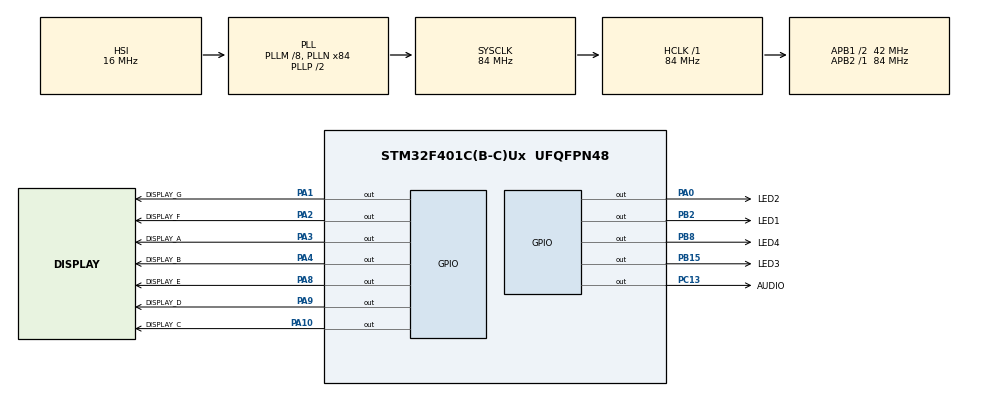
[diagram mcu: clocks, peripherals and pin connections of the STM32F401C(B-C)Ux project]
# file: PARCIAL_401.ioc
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Mcu.Family=STM32F4
Mcu.Name=STM32F401C(B-C)Ux
Mcu.Package=UFQFPN48
NVIC.PriorityGroup=NVIC_PRIORITYGROUP_4
PA0-WKUP.GPIO_Label=LED2
PA0-WKUP.Signal=GPIO_Output
PA1.GPIO_Label=DISPLAY_G
PA1.Signal=GPIO_Output
PA10.GPIO_Label=DISPLAY_C
PA10.Signal=GPIO_Output
PA2.GPIO_Label=DISPLAY_F
PA2.Signal=GPIO_Output
PA3.GPIO_Label=DISPLAY_A
PA3.Signal=GPIO_Output
PA4.GPIO_Label=DISPLAY_B
PA4.Signal=GPIO_Output
PA8.GPIO_Label=DISPLAY_E
PA8.Signal=GPIO_Output
PA9.GPIO_Label=DISPLAY_D
PA9.Signal=GPIO_Output
PB15.GPIO_Label=LED3
PB15.Signal=GPIO_Output
PB2.GPIO_Label=LED1
PB2.Signal=GPIO_Output
PB8.GPIO_Label=LED4
PB8.Signal=GPIO_Output
PC13-ANTI_TAMP.GPIO_Label=AUDIO
PC13-ANTI_TAMP.Signal=GPIO_Output
ProjectManager.HeapSize=0x200
ProjectManager.StackSize=0x400
ProjectManager.TargetToolchain=CMake
RCC.48MHZClocksFreq_Value=42000000
RCC.AHBFreq_Value=84000000
RCC.APB1CLKDivider=RCC_HCLK_DIV2
RCC.APB1Freq_Value=42000000
RCC.APB1TimFreq_Value=84000000
RCC.APB2Freq_Value=84000000
RCC.APB2TimFreq_Value=84000000
RCC.CortexFreq_Value=84000000
RCC.HCLKFreq_Value=84000000
RCC.HSE_VALUE=25000000
RCC.HSI_VALUE=16000000
RCC.LSE_VALUE=32768
RCC.PLLM=8
RCC.PLLN=84
RCC.SYSCLKFreq_VALUE=84000000
RCC.SYSCLKSource=RCC_SYSCLKSOURCE_PLLCLK
RCC.VCOOutputFreq_Value=168000000
board=custom

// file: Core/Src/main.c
/* USER CODE BEGIN Header */
/**
  ******************************************************************************
  * @file           : main.c
  * @brief          : Main program body
  ******************************************************************************
  * @attention
  *
  * Copyright (c) 2026 STMicroelectronics.
  * All rights reserved.
  *
  * This software is licensed under terms that can be found in the LICENSE file
  * in the root directory of this software component.
  * If no LICENSE file comes with this software, it is provided AS-IS.
  *
  ******************************************************************************
  */
/* USER CODE END Header */
#include "main.h"

/* USER CODE BEGIN Includes */
#include "delays.h"
#include "stm32f4xx_hal_gpio.h"
#include "tono.h"
/* USER CODE END Includes */

void SystemClock_Config(void);
static void MX_GPIO_Init(void);
/* USER CODE BEGIN PFP */

// ======================================================
// FUNCIÓN 1 - Ascendente
// ======================================================
// ======================================================
// FUNCIÓN 1 - Ascendente
// ======================================================
void Funcion1(void)
{
    // 1
    HAL_GPIO_WritePin(DISPLAY_A_GPIO_Port, DISPLAY_A_Pin, GPIO_PIN_RESET);
    HAL_GPIO_WritePin(DISPLAY_B_GPIO_Port, DISPLAY_B_Pin, GPIO_PIN_SET);
    HAL_GPIO_WritePin(DISPLAY_C_GPIO_Port, DISPLAY_C_Pin, GPIO_PIN_SET);
    HAL_GPIO_WritePin(DISPLAY_D_GPIO_Port, DISPLAY_D_Pin, GPIO_PIN_RESET);
    HAL_GPIO_WritePin(DISPLAY_E_GPIO_Port, DISPLAY_E_Pin, GPIO_PIN_RESET);
    HAL_GPIO_WritePin(DISPLAY_F_GPIO_Port, DISPLAY_F_Pin, GPIO_PIN_RESET);
    HAL_GPIO_WritePin(DISPLAY_G_GPIO_Port, DISPLAY_G_Pin, GPIO_PIN_RESET);

    HAL_GPIO_WritePin(LED1_GPIO_Port, LED1_Pin, GPIO_PIN_SET);
    Sound_play(330, 180);
    HAL_GPIO_WritePin(LED1_GPIO_Port, LED1_Pin, GPIO_PIN_RESET);
    HAL_Delay(100);

    // 2
    HAL_GPIO_WritePin(DISPLAY_A_GPIO_Port, DISPLAY_A_Pin, GPIO_PIN_SET);
    HAL_GPIO_WritePin(DISPLAY_B_GPIO_Port, DISPLAY_B_Pin, GPIO_PIN_SET);
    HAL_GPIO_WritePin(DISPLAY_C_GPIO_Port, DISPLAY_C_Pin, GPIO_PIN_RESET);
    HAL_GPIO_WritePin(DISPLAY_D_GPIO_Port, DISPLAY_D_Pin, GPIO_PIN_SET);
    HAL_GPIO_WritePin(DISPLAY_E_GPIO_Port, DISPLAY_E_Pin, GPIO_PIN_SET);
    HAL_GPIO_WritePin(DISPLAY_F_GPIO_Port, DISPLAY_F_Pin, GPIO_PIN_RESET);
    HAL_GPIO_WritePin(DISPLAY_G_GPIO_Port, DISPLAY_G_Pin, GPIO_PIN_SET);

    HAL_GPIO_WritePin(LED2_GPIO_Port, LED2_Pin, GPIO_PIN_SET);
    Sound_play(392, 180);
    HAL_GPIO_WritePin(LED2_GPIO_Port, LED2_Pin, GPIO_PIN_RESET);
    HAL_Delay(100);

    // 3
    HAL_GPIO_WritePin(DISPLAY_A_GPIO_Port, DISPLAY_A_Pin, GPIO_PIN_SET);
    HAL_GPIO_WritePin(DISPLAY_B_GPIO_Port, DISPLAY_B_Pin, GPIO_PIN_SET);
    HAL_GPIO_WritePin(DISPLAY_C_GPIO_Port, DISPLAY_C_Pin, GPIO_PIN_SET);
    HAL_GPIO_WritePin(DISPLAY_D_GPIO_Port, DISPLAY_D_Pin, GPIO_PIN_SET);
    HAL_GPIO_WritePin(DISPLAY_E_GPIO_Port, DISPLAY_E_Pin, GPIO_PIN_RESET);
    HAL_GPIO_WritePin(DISPLAY_F_GPIO_Port, DISPLAY_F_Pin, GPIO_PIN_RESET);
    HAL_GPIO_WritePin(DISPLAY_G_GPIO_Port, DISPLAY_G_Pin, GPIO_PIN_SET);

    HAL_GPIO_WritePin(LED3_GPIO_Port, LED3_Pin, GPIO_PIN_SET);
    Sound_play(494, 180);
    HAL_GPIO_WritePin(LED3_GPIO_Port, LED3_Pin, GPIO_PIN_RESET);
    HAL_Delay(100);

    // 4
    HAL_GPIO_WritePin(DISPLAY_A_GPIO_Port, DISPLAY_A_Pin, GPIO_PIN_RESET);
    HAL_GPIO_WritePin(DISPLAY_B_GPIO_Port, DISPLAY_B_Pin, GPIO_PIN_SET);
    HAL_GPIO_WritePin(DISPLAY_C_GPIO_Port, DISPLAY_C_Pin, GPIO_PIN_SET);
    HAL_GPIO_WritePin(DISPLAY_D_GPIO_Port, DISPLAY_D_Pin, GPIO_PIN_RESET);
    HAL_GPIO_WritePin(DISPLAY_E_GPIO_Port, DISPLAY_E_Pin, GPIO_PIN_RESET);
    HAL_GPIO_WritePin(DISPLAY_F_GPIO_Port, DISPLAY_F_Pin, GPIO_PIN_SET);
    HAL_GPIO_WritePin(DISPLAY_G_GPIO_Port, DISPLAY_G_Pin, GPIO_PIN_SET);

    HAL_GPIO_WritePin(LED4_GPIO_Port, LED4_Pin, GPIO_PIN_SET);
    Sound_play(587, 180);
    HAL_GPIO_WritePin(LED4_GPIO_Port, LED4_Pin, GPIO_PIN_RESET);
    HAL_Delay(100);
}

// ======================================================
// FUNCIÓN 2 - Descendente
// ======================================================
void Funcion2(void)
{
    // 4
    HAL_GPIO_WritePin(DISPLAY_A_GPIO_Port, DISPLAY_A_Pin, GPIO_PIN_RESET);
    HAL_GPIO_WritePin(DISPLAY_B_GPIO_Port, DISPLAY_B_Pin, GPIO_PIN_SET);
    HAL_GPIO_WritePin(DISPLAY_C_GPIO_Port, DISPLAY_C_Pin, GPIO_PIN_SET);
    HAL_GPIO_WritePin(DISPLAY_D_GPIO_Port, DISPLAY_D_Pin, GPIO_PIN_RESET);
    HAL_GPIO_WritePin(DISPLAY_E_GPIO_Port, DISPLAY_E_Pin, GPIO_PIN_RESET);
    HAL_GPIO_WritePin(DISPLAY_F_GPIO_Port, DISPLAY_F_Pin, GPIO_PIN_SET);
    HAL_GPIO_WritePin(DISPLAY_G_GPIO_Port, DISPLAY_G_Pin, GPIO_PIN_SET);

    HAL_GPIO_WritePin(LED4_GPIO_Port, LED4_Pin, GPIO_PIN_SET);
    Sound_play(800, 200);
    HAL_GPIO_WritePin(LED4_GPIO_Port, LED4_Pin, GPIO_PIN_RESET);

    // 3
    HAL_GPIO_WritePin(DISPLAY_A_GPIO_Port, DISPLAY_A_Pin, GPIO_PIN_SET);
    HAL_GPIO_WritePin(DISPLAY_B_GPIO_Port, DISPLAY_B_Pin, GPIO_PIN_SET);
    HAL_GPIO_WritePin(DISPLAY_C_GPIO_Port, DISPLAY_C_Pin, GPIO_PIN_SET);
    HAL_GPIO_WritePin(DISPLAY_D_GPIO_Port, DISPLAY_D_Pin, GPIO_PIN_SET);
    HAL_GPIO_WritePin(DISPLAY_E_GPIO_Port, DISPLAY_E_Pin, GPIO_PIN_RESET);
    HAL_GPIO_WritePin(DISPLAY_F_GPIO_Port, DISPLAY_F_Pin, GPIO_PIN_RESET);
    HAL_GPIO_WritePin(DISPLAY_G_GPIO_Port, DISPLAY_G_Pin, GPIO_PIN_SET);

    HAL_GPIO_WritePin(LED3_GPIO_Port, LED3_Pin, GPIO_PIN_SET);
    Sound_play(700, 200);
    HAL_GPIO_WritePin(LED3_GPIO_Port, LED3_Pin, GPIO_PIN_RESET);

    // 2
    HAL_GPIO_WritePin(DISPLAY_A_GPIO_Port, DISPLAY_A_Pin, GPIO_PIN_SET);
    HAL_GPIO_WritePin(DISPLAY_B_GPIO_Port, DISPLAY_B_Pin, GPIO_PIN_SET);
    HAL_GPIO_WritePin(DISPLAY_C_GPIO_Port, DISPLAY_C_Pin, GPIO_PIN_RESET);
    HAL_GPIO_WritePin(DISPLAY_D_GPIO_Port, DISPLAY_D_Pin, GPIO_PIN_SET);
    HAL_GPIO_WritePin(DISPLAY_E_GPIO_Port, DISPLAY_E_Pin, GPIO_PIN_SET);
    HAL_GPIO_WritePin(DISPLAY_F_GPIO_Port, DISPLAY_F_Pin, GPIO_PIN_RESET);
    HAL_GPIO_WritePin(DISPLAY_G_GPIO_Port, DISPLAY_G_Pin, GPIO_PIN_SET);

    HAL_GPIO_WritePin(LED2_GPIO_Port, LED2_Pin, GPIO_PIN_SET);
    Sound_play(600, 200);
    HAL_GPIO_WritePin(LED2_GPIO_Port, LED2_Pin, GPIO_PIN_RESET);

    // 1
    HAL_GPIO_WritePin(DISPLAY_A_GPIO_Port, DISPLAY_A_Pin, GPIO_PIN_RESET);
    HAL_GPIO_WritePin(DISPLAY_B_GPIO_Port, DISPLAY_B_Pin, GPIO_PIN_SET);
    HAL_GPIO_WritePin(DISPLAY_C_GPIO_Port, DISPLAY_C_Pin, GPIO_PIN_SET);
    HAL_GPIO_WritePin(DISPLAY_D_GPIO_Port, DISPLAY_D_Pin, GPIO_PIN_RESET);
    HAL_GPIO_WritePin(DISPLAY_E_GPIO_Port, DISPLAY_E_Pin, GPIO_PIN_RESET);
    HAL_GPIO_WritePin(DISPLAY_F_GPIO_Port, DISPLAY_F_Pin, GPIO_PIN_RESET);
    HAL_GPIO_WritePin(DISPLAY_G_GPIO_Port, DISPLAY_G_Pin, GPIO_PIN_RESET);

    HAL_GPIO_WritePin(LED1_GPIO_Port, LED1_Pin, GPIO_PIN_SET);
    Sound_play(500, 200);
    HAL_GPIO_WritePin(LED1_GPIO_Port, LED1_Pin, GPIO_PIN_RESET);
}

// ======================================================
// FUNCIÓN 3 - Efecto de extremos
// ======================================================
void Funcion3(void)
{
    // LED1 + LED4
    HAL_GPIO_WritePin(DISPLAY_A_GPIO_Port, DISPLAY_A_Pin, GPIO_PIN_RESET);
    HAL_GPIO_WritePin(DISPLAY_B_GPIO_Port, DISPLAY_B_Pin, GPIO_PIN_RESET);
    HAL_GPIO_WritePin(DISPLAY_C_GPIO_Port, DISPLAY_C_Pin, GPIO_PIN_RESET);
    HAL_GPIO_WritePin(DISPLAY_D_GPIO_Port, DISPLAY_D_Pin, GPIO_PIN_RESET);
    HAL_GPIO_WritePin(DISPLAY_E_GPIO_Port, DISPLAY_E_Pin, GPIO_PIN_RESET);
    HAL_GPIO_WritePin(DISPLAY_F_GPIO_Port, DISPLAY_F_Pin, GPIO_PIN_RESET);
    HAL_GPIO_WritePin(DISPLAY_G_GPIO_Port, DISPLAY_G_Pin, GPIO_PIN_RESET);

    HAL_GPIO_WritePin(LED1_GPIO_Port, LED1_Pin, GPIO_PIN_SET);
    HAL_GPIO_WritePin(LED4_GPIO_Port, LED4_Pin, GPIO_PIN_SET);
    Sound_play(500, 250);

    HAL_GPIO_WritePin(LED1_GPIO_Port, LED1_Pin, GPIO_PIN_RESET);
    HAL_GPIO_WritePin(LED4_GPIO_Port, LED4_Pin, GPIO_PIN_RESET);

    // LED2 + LED3
    HAL_GPIO_WritePin(LED2_GPIO_Port, LED2_Pin, GPIO_PIN_SET);
    HAL_GPIO_WritePin(LED3_GPIO_Port, LED3_Pin, GPIO_PIN_SET);
    Sound_play(650, 250);

    HAL_GPIO_WritePin(LED2_GPIO_Port, LED2_Pin, GPIO_PIN_RESET);
    HAL_GPIO_WritePin(LED3_GPIO_Port, LED3_Pin, GPIO_PIN_RESET);

    // Todos
    HAL_GPIO_WritePin(LED1_GPIO_Port, LED1_Pin, GPIO_PIN_SET);
    HAL_GPIO_WritePin(LED2_GPIO_Port, LED2_Pin, GPIO_PIN_SET);
    HAL_GPIO_WritePin(LED3_GPIO_Port, LED3_Pin, GPIO_PIN_SET);
    HAL_GPIO_WritePin(LED4_GPIO_Port, LED4_Pin, GPIO_PIN_SET);

    Sound_play(800, 300);

    HAL_GPIO_WritePin(LED1_GPIO_Port, LED1_Pin, GPIO_PIN_RESET);
    HAL_GPIO_WritePin(LED2_GPIO_Port, LED2_Pin, GPIO_PIN_RESET);
    HAL_GPIO_WritePin(LED3_GPIO_Port, LED3_Pin, GPIO_PIN_RESET);
    HAL_GPIO_WritePin(LED4_GPIO_Port, LED4_Pin, GPIO_PIN_RESET);
}

// ======================================================
// FUNCIÓN 4 - Alarma
// ======================================================
void Funcion4(void)
{
    // LED1 + LED3
    HAL_GPIO_WritePin(DISPLAY_A_GPIO_Port, DISPLAY_A_Pin, GPIO_PIN_SET);
    HAL_GPIO_WritePin(DISPLAY_B_GPIO_Port, DISPLAY_B_Pin, GPIO_PIN_RESET);
    HAL_GPIO_WritePin(DISPLAY_C_GPIO_Port, DISPLAY_C_Pin, GPIO_PIN_SET);
    HAL_GPIO_WritePin(DISPLAY_D_GPIO_Port, DISPLAY_D_Pin, GPIO_PIN_SET);
    HAL_GPIO_WritePin(DISPLAY_E_GPIO_Port, DISPLAY_E_Pin, GPIO_PIN_RESET);
    HAL_GPIO_WritePin(DISPLAY_F_GPIO_Port, DISPLAY_F_Pin, GPIO_PIN_SET);
    HAL_GPIO_WritePin(DISPLAY_G_GPIO_Port, DISPLAY_G_Pin, GPIO_PIN_SET);

    HAL_GPIO_WritePin(LED1_GPIO_Port, LED1_Pin, GPIO_PIN_SET);
    HAL_GPIO_WritePin(LED3_GPIO_Port, LED3_Pin, GPIO_PIN_SET);

    Sound_play(1000, 250);

    HAL_GPIO_WritePin(LED1_GPIO_Port, LED1_Pin, GPIO_PIN_RESET);
    HAL_GPIO_WritePin(LED3_GPIO_Port, LED3_Pin, GPIO_PIN_RESET);

    // LED2 + LED4
    HAL_GPIO_WritePin(LED2_GPIO_Port, LED2_Pin, GPIO_PIN_SET);
    HAL_GPIO_WritePin(LED4_GPIO_Port, LED4_Pin, GPIO_PIN_SET);

    Sound_play(500, 250);

    HAL_GPIO_WritePin(LED2_GPIO_Port, LED2_Pin, GPIO_PIN_RESET);
    HAL_GPIO_WritePin(LED4_GPIO_Port, LED4_Pin, GPIO_PIN_RESET);
}

// ======================================================
// FUNCIÓN 5 - Ida y vuelta
// ======================================================
void Funcion5(void)
{
    // 1
    HAL_GPIO_WritePin(DISPLAY_A_GPIO_Port, DISPLAY_A_Pin, GPIO_PIN_RESET);
    HAL_GPIO_WritePin(DISPLAY_B_GPIO_Port, DISPLAY_B_Pin, GPIO_PIN_SET);
    HAL_GPIO_WritePin(DISPLAY_C_GPIO_Port, DISPLAY_C_Pin, GPIO_PIN_SET);
    HAL_GPIO_WritePin(DISPLAY_D_GPIO_Port, DISPLAY_D_Pin, GPIO_PIN_RESET);
    HAL_GPIO_WritePin(DISPLAY_E_GPIO_Port, DISPLAY_E_Pin, GPIO_PIN_RESET);
    HAL_GPIO_WritePin(DISPLAY_F_GPIO_Port, DISPLAY_F_Pin, GPIO_PIN_RESET);
    HAL_GPIO_WritePin(DISPLAY_G_GPIO_Port, DISPLAY_G_Pin, GPIO_PIN_RESET);

    HAL_GPIO_WritePin(LED1_GPIO_Port, LED1_Pin, GPIO_PIN_SET);
    Sound_play(300, 120);
    HAL_GPIO_WritePin(LED1_GPIO_Port, LED1_Pin, GPIO_PIN_RESET);

    // 2
    HAL_GPIO_WritePin(DISPLAY_A_GPIO_Port, DISPLAY_A_Pin, GPIO_PIN_SET);
    HAL_GPIO_WritePin(DISPLAY_B_GPIO_Port, DISPLAY_B_Pin, GPIO_PIN_SET);
    HAL_GPIO_WritePin(DISPLAY_C_GPIO_Port, DISPLAY_C_Pin, GPIO_PIN_RESET);
    HAL_GPIO_WritePin(DISPLAY_D_GPIO_Port, DISPLAY_D_Pin, GPIO_PIN_SET);
    HAL_GPIO_WritePin(DISPLAY_E_GPIO_Port, DISPLAY_E_Pin, GPIO_PIN_SET);
    HAL_GPIO_WritePin(DISPLAY_F_GPIO_Port, DISPLAY_F_Pin, GPIO_PIN_RESET);
    HAL_GPIO_WritePin(DISPLAY_G_GPIO_Port, DISPLAY_G_Pin, GPIO_PIN_SET);

    HAL_GPIO_WritePin(LED2_GPIO_Port, LED2_Pin, GPIO_PIN_SET);
    Sound_play(400, 120);
    HAL_GPIO_WritePin(LED2_GPIO_Port, LED2_Pin, GPIO_PIN_RESET);

    // 3
    HAL_GPIO_WritePin(DISPLAY_A_GPIO_Port, DISPLAY_A_Pin, GPIO_PIN_SET);
    HAL_GPIO_WritePin(DISPLAY_B_GPIO_Port, DISPLAY_B_Pin, GPIO_PIN_SET);
    HAL_GPIO_WritePin(DISPLAY_C_GPIO_Port, DISPLAY_C_Pin, GPIO_PIN_SET);
    HAL_GPIO_WritePin(DISPLAY_D_GPIO_Port, DISPLAY_D_Pin, GPIO_PIN_SET);
    HAL_GPIO_WritePin(DISPLAY_E_GPIO_Port, DISPLAY_E_Pin, GPIO_PIN_RESET);
    HAL_GPIO_WritePin(DISPLAY_F_GPIO_Port, DISPLAY_F_Pin, GPIO_PIN_RESET);
    HAL_GPIO_WritePin(DISPLAY_G_GPIO_Port, DISPLAY_G_Pin, GPIO_PIN_SET);

    HAL_GPIO_WritePin(LED3_GPIO_Port, LED3_Pin, GPIO_PIN_SET);
    Sound_play(500, 120);
    HAL_GPIO_WritePin(LED3_GPIO_Port, LED3_Pin, GPIO_PIN_RESET);

    // 4
    HAL_GPIO_WritePin(DISPLAY_A_GPIO_Port, DISPLAY_A_Pin, GPIO_PIN_RESET);
    HAL_GPIO_WritePin(DISPLAY_B_GPIO_Port, DISPLAY_B_Pin, GPIO_PIN_SET);
    HAL_GPIO_WritePin(DISPLAY_C_GPIO_Port, DISPLAY_C_Pin, GPIO_PIN_SET);
    HAL_GPIO_WritePin(DISPLAY_D_GPIO_Port, DISPLAY_D_Pin, GPIO_PIN_RESET);
    HAL_GPIO_WritePin(DISPLAY_E_GPIO_Port, DISPLAY_E_Pin, GPIO_PIN_RESET);
    HAL_GPIO_WritePin(DISPLAY_F_GPIO_Port, DISPLAY_F_Pin, GPIO_PIN_SET);
    HAL_GPIO_WritePin(DISPLAY_G_GPIO_Port, DISPLAY_G_Pin, GPIO_PIN_SET);

    HAL_GPIO_WritePin(LED4_GPIO_Port, LED4_Pin, GPIO_PIN_SET);
    Sound_play(600, 120);
    HAL_GPIO_WritePin(LED4_GPIO_Port, LED4_Pin, GPIO_PIN_RESET);

    // 3
    HAL_GPIO_WritePin(LED3_GPIO_Port, LED3_Pin, GPIO_PIN_SET);
    Sound_play(500, 120);
    HAL_GPIO_WritePin(LED3_GPIO_Port, LED3_Pin, GPIO_PIN_RESET);

    // 2
    HAL_GPIO_WritePin(LED2_GPIO_Port, LED2_Pin, GPIO_PIN_SET);
    Sound_play(400, 120);
    HAL_GPIO_WritePin(LED2_GPIO_Port, LED2_Pin, GPIO_PIN_RESET);

    // 1
    HAL_GPIO_WritePin(LED1_GPIO_Port, LED1_Pin, GPIO_PIN_SET);
    Sound_play(300, 120);
    HAL_GPIO_WritePin(LED1_GPIO_Port, LED1_Pin, GPIO_PIN_RESET);
}

// ======================================================
// FUNCIÓN 6 - Parpadeo rápido
// ======================================================
void Funcion6(void)
{
    // Encender los 4
    HAL_GPIO_WritePin(DISPLAY_A_GPIO_Port, DISPLAY_A_Pin, GPIO_PIN_RESET);
    HAL_GPIO_WritePin(DISPLAY_B_GPIO_Port, DISPLAY_B_Pin, GPIO_PIN_RESET);
    HAL_GPIO_WritePin(DISPLAY_C_GPIO_Port, DISPLAY_C_Pin, GPIO_PIN_RESET);
    HAL_GPIO_WritePin(DISPLAY_D_GPIO_Port, DISPLAY_D_Pin, GPIO_PIN_RESET);
    HAL_GPIO_WritePin(DISPLAY_E_GPIO_Port, DISPLAY_E_Pin, GPIO_PIN_RESET);
    HAL_GPIO_WritePin(DISPLAY_F_GPIO_Port, DISPLAY_F_Pin, GPIO_PIN_RESET);
    HAL_GPIO_WritePin(DISPLAY_G_GPIO_Port, DISPLAY_G_Pin, GPIO_PIN_RESET);

    HAL_GPIO_WritePin(LED1_GPIO_Port, LED1_Pin, GPIO_PIN_SET);
    HAL_GPIO_WritePin(LED2_GPIO_Port, LED2_Pin, GPIO_PIN_SET);
    HAL_GPIO_WritePin(LED3_GPIO_Port, LED3_Pin, GPIO_PIN_SET);
    HAL_GPIO_WritePin(LED4_GPIO_Port, LED4_Pin, GPIO_PIN_SET);

    Sound_play(900, 150);

    // Apagar los 4
    HAL_GPIO_WritePin(LED1_GPIO_Port, LED1_Pin, GPIO_PIN_RESET);
    HAL_GPIO_WritePin(LED2_GPIO_Port, LED2_Pin, GPIO_PIN_RESET);
    HAL_GPIO_WritePin(LED3_GPIO_Port, LED3_Pin, GPIO_PIN_RESET);
    HAL_GPIO_WritePin(LED4_GPIO_Port, LED4_Pin, GPIO_PIN_RESET);

    Sound_play(300, 150);

    // Encender nuevamente
    HAL_GPIO_WritePin(LED1_GPIO_Port, LED1_Pin, GPIO_PIN_SET);
    HAL_GPIO_WritePin(LED2_GPIO_Port, LED2_Pin, GPIO_PIN_SET);
    HAL_GPIO_WritePin(LED3_GPIO_Port, LED3_Pin, GPIO_PIN_SET);
    HAL_GPIO_WritePin(LED4_GPIO_Port, LED4_Pin, GPIO_PIN_SET);

    Sound_play(900, 150);

    // Apagar
    HAL_GPIO_WritePin(LED1_GPIO_Port, LED1_Pin, GPIO_PIN_RESET);
    HAL_GPIO_WritePin(LED2_GPIO_Port, LED2_Pin, GPIO_PIN_RESET);
    HAL_GPIO_WritePin(LED3_GPIO_Port, LED3_Pin, GPIO_PIN_RESET);
    HAL_GPIO_WritePin(LED4_GPIO_Port, LED4_Pin, GPIO_PIN_RESET);
}

// ======================================================
// FUNCIÓN 7 - Conteo con grupos de LEDs
// ======================================================
void Funcion7(void)
{
    // 1 LED
    HAL_GPIO_WritePin(DISPLAY_A_GPIO_Port, DISPLAY_A_Pin, GPIO_PIN_RESET);
    HAL_GPIO_WritePin(DISPLAY_B_GPIO_Port, DISPLAY_B_Pin, GPIO_PIN_SET);
    HAL_GPIO_WritePin(DISPLAY_C_GPIO_Port, DISPLAY_C_Pin, GPIO_PIN_SET);
    HAL_GPIO_WritePin(DISPLAY_D_GPIO_Port, DISPLAY_D_Pin, GPIO_PIN_RESET);
    HAL_GPIO_WritePin(DISPLAY_E_GPIO_Port, DISPLAY_E_Pin, GPIO_PIN_RESET);
    HAL_GPIO_WritePin(DISPLAY_F_GPIO_Port, DISPLAY_F_Pin, GPIO_PIN_RESET);
    HAL_GPIO_WritePin(DISPLAY_G_GPIO_Port, DISPLAY_G_Pin, GPIO_PIN_RESET);

    HAL_GPIO_WritePin(LED1_GPIO_Port, LED1_Pin, GPIO_PIN_SET);
    Sound_play(440, 200);
    HAL_GPIO_WritePin(LED1_GPIO_Port, LED1_Pin, GPIO_PIN_RESET);

    // 2 LEDs
    HAL_GPIO_WritePin(DISPLAY_A_GPIO_Port, DISPLAY_A_Pin, GPIO_PIN_SET);
    HAL_GPIO_WritePin(DISPLAY_B_GPIO_Port, DISPLAY_B_Pin, GPIO_PIN_SET);
    HAL_GPIO_WritePin(DISPLAY_C_GPIO_Port, DISPLAY_C_Pin, GPIO_PIN_RESET);
    HAL_GPIO_WritePin(DISPLAY_D_GPIO_Port, DISPLAY_D_Pin, GPIO_PIN_SET);
    HAL_GPIO_WritePin(DISPLAY_E_GPIO_Port, DISPLAY_E_Pin, GPIO_PIN_SET);
    HAL_GPIO_WritePin(DISPLAY_F_GPIO_Port, DISPLAY_F_Pin, GPIO_PIN_RESET);
    HAL_GPIO_WritePin(DISPLAY_G_GPIO_Port, DISPLAY_G_Pin, GPIO_PIN_SET);

    HAL_GPIO_WritePin(LED1_GPIO_Port, LED1_Pin, GPIO_PIN_SET);
    HAL_GPIO_WritePin(LED2_GPIO_Port, LED2_Pin, GPIO_PIN_SET);
    Sound_play(494, 200);
    HAL_GPIO_WritePin(LED1_GPIO_Port, LED1_Pin, GPIO_PIN_RESET);
    HAL_GPIO_WritePin(LED2_GPIO_Port, LED2_Pin, GPIO_PIN_RESET);

    // 3 LEDs
    HAL_GPIO_WritePin(DISPLAY_A_GPIO_Port, DISPLAY_A_Pin, GPIO_PIN_SET);
    HAL_GPIO_WritePin(DISPLAY_B_GPIO_Port, DISPLAY_B_Pin, GPIO_PIN_SET);
    HAL_GPIO_WritePin(DISPLAY_C_GPIO_Port, DISPLAY_C_Pin, GPIO_PIN_SET);
    HAL_GPIO_WritePin(DISPLAY_D_GPIO_Port, DISPLAY_D_Pin, GPIO_PIN_SET);
    HAL_GPIO_WritePin(DISPLAY_E_GPIO_Port, DISPLAY_E_Pin, GPIO_PIN_RESET);
    HAL_GPIO_WritePin(DISPLAY_F_GPIO_Port, DISPLAY_F_Pin, GPIO_PIN_RESET);
    HAL_GPIO_WritePin(DISPLAY_G_GPIO_Port, DISPLAY_G_Pin, GPIO_PIN_SET);

    HAL_GPIO_WritePin(LED1_GPIO_Port, LED1_Pin, GPIO_PIN_SET);
    HAL_GPIO_WritePin(LED2_GPIO_Port, LED2_Pin, GPIO_PIN_SET);
    HAL_GPIO_WritePin(LED3_GPIO_Port, LED3_Pin, GPIO_PIN_SET);
    Sound_play(554, 200);
    HAL_GPIO_WritePin(LED1_GPIO_Port, LED1_Pin, GPIO_PIN_RESET);
    HAL_GPIO_WritePin(LED2_GPIO_Port, LED2_Pin, GPIO_PIN_RESET);
    HAL_GPIO_WritePin(LED3_GPIO_Port, LED3_Pin, GPIO_PIN_RESET);

    // 4 LEDs
    HAL_GPIO_WritePin(DISPLAY_A_GPIO_Port, DISPLAY_A_Pin, GPIO_PIN_RESET);
    HAL_GPIO_WritePin(DISPLAY_B_GPIO_Port, DISPLAY_B_Pin, GPIO_PIN_SET);
    HAL_GPIO_WritePin(DISPLAY_C_GPIO_Port, DISPLAY_C_Pin, GPIO_PIN_SET);
    HAL_GPIO_WritePin(DISPLAY_D_GPIO_Port, DISPLAY_D_Pin, GPIO_PIN_RESET);
    HAL_GPIO_WritePin(DISPLAY_E_GPIO_Port, DISPLAY_E_Pin, GPIO_PIN_RESET);
    HAL_GPIO_WritePin(DISPLAY_F_GPIO_Port, DISPLAY_F_Pin, GPIO_PIN_SET);
    HAL_GPIO_WritePin(DISPLAY_G_GPIO_Port, DISPLAY_G_Pin, GPIO_PIN_SET);

    HAL_GPIO_WritePin(LED1_GPIO_Port, LED1_Pin, GPIO_PIN_SET);
    HAL_GPIO_WritePin(LED2_GPIO_Port, LED2_Pin, GPIO_PIN_SET);
    HAL_GPIO_WritePin(LED3_GPIO_Port, LED3_Pin, GPIO_PIN_SET);
    HAL_GPIO_WritePin(LED4_GPIO_Port, LED4_Pin, GPIO_PIN_SET);

    Sound_play(622, 200);

    HAL_GPIO_WritePin(LED1_GPIO_Port, LED1_Pin, GPIO_PIN_RESET);
    HAL_GPIO_WritePin(LED2_GPIO_Port, LED2_Pin, GPIO_PIN_RESET);
    HAL_GPIO_WritePin(LED3_GPIO_Port, LED3_Pin, GPIO_PIN_RESET);
    HAL_GPIO_WritePin(LED4_GPIO_Port, LED4_Pin, GPIO_PIN_RESET);
}

// ======================================================
// FUNCIÓN 8 - Encendido progresivo + final
// ======================================================
void Funcion8(void)
{
    // Mostrar 0
    HAL_GPIO_WritePin(DISPLAY_A_GPIO_Port, DISPLAY_A_Pin, GPIO_PIN_SET);
    HAL_GPIO_WritePin(DISPLAY_B_GPIO_Port, DISPLAY_B_Pin, GPIO_PIN_SET);
    HAL_GPIO_WritePin(DISPLAY_C_GPIO_Port, DISPLAY_C_Pin, GPIO_PIN_SET);
    HAL_GPIO_WritePin(DISPLAY_D_GPIO_Port, DISPLAY_D_Pin, GPIO_PIN_SET);
    HAL_GPIO_WritePin(DISPLAY_E_GPIO_Port, DISPLAY_E_Pin, GPIO_PIN_SET);
    HAL_GPIO_WritePin(DISPLAY_F_GPIO_Port, DISPLAY_F_Pin, GPIO_PIN_SET);
    HAL_GPIO_WritePin(DISPLAY_G_GPIO_Port, DISPLAY_G_Pin, GPIO_PIN_RESET);

    // LED1
    HAL_GPIO_WritePin(LED1_GPIO_Port, LED1_Pin, GPIO_PIN_SET);
    Sound_play(262, 100);

    // LED2
    HAL_GPIO_WritePin(LED2_GPIO_Port, LED2_Pin, GPIO_PIN_SET);
    Sound_play(330, 100);

    // LED3
    HAL_GPIO_WritePin(LED3_GPIO_Port, LED3_Pin, GPIO_PIN_SET);
    Sound_play(392, 100);

    // LED4
    HAL_GPIO_WritePin(LED4_GPIO_Port, LED4_Pin, GPIO_PIN_SET);
    Sound_play(494, 100);

    // Final
    Sound_play(659, 300);

    // Mostrar 8
    HAL_GPIO_WritePin(DISPLAY_A_GPIO_Port, DISPLAY_A_Pin, GPIO_PIN_SET);
    HAL_GPIO_WritePin(DISPLAY_B_GPIO_Port, DISPLAY_B_Pin, GPIO_PIN_SET);
    HAL_GPIO_WritePin(DISPLAY_C_GPIO_Port, DISPLAY_C_Pin, GPIO_PIN_SET);
    HAL_GPIO_WritePin(DISPLAY_D_GPIO_Port, DISPLAY_D_Pin, GPIO_PIN_SET);
    HAL_GPIO_WritePin(DISPLAY_E_GPIO_Port, DISPLAY_E_Pin, GPIO_PIN_SET);
    HAL_GPIO_WritePin(DISPLAY_F_GPIO_Port, DISPLAY_F_Pin, GPIO_PIN_SET);
    HAL_GPIO_WritePin(DISPLAY_G_GPIO_Port, DISPLAY_G_Pin, GPIO_PIN_SET);

    Sound_play(1000, 500);

    // Apagar LEDs
    HAL_GPIO_WritePin(LED1_GPIO_Port, LED1_Pin, GPIO_PIN_RESET);
    HAL_GPIO_WritePin(LED2_GPIO_Port, LED2_Pin, GPIO_PIN_RESET);
    HAL_GPIO_WritePin(LED3_GPIO_Port, LED3_Pin, GPIO_PIN_RESET);
    HAL_GPIO_WritePin(LED4_GPIO_Port, LED4_Pin, GPIO_PIN_RESET);
}
void Navidad(void)
{
    // Jingle Bells 🎄

    // E5 E5 E5
    Sound_play(659, 180);
    Sound_play(659, 180);
    Sound_play(659, 300);

    // E5 E5 E5
    Sound_play(659, 180);
    Sound_play(659, 180);
    Sound_play(659, 300);

    // E5 G5 C5 D5 E5
    Sound_play(659, 180);
    Sound_play(784, 180);
    Sound_play(523, 180);
    Sound_play(587, 180);
    Sound_play(659, 400);

    // F5 F5 F5 F5
    Sound_play(698, 180);
    Sound_play(698, 180);
    Sound_play(698, 180);
    Sound_play(698, 180);

    // F5 E5 E5 E5
    Sound_play(698, 180);
    Sound_play(659, 180);
    Sound_play(659, 180);
    Sound_play(659, 300);

    // E5 D5 D5 E5 D5 G5
    Sound_play(659, 180);
    Sound_play(587, 180);
    Sound_play(587, 180);
    Sound_play(659, 180);
    Sound_play(587, 180);
    Sound_play(784, 400);
}

/* USER CODE END PFP */

int main(void)
{

  /* MCU Configuration--------------------------------------------------------*/

  /* Reset of all peripherals, Initializes the Flash interface and the Systick. */
  HAL_Init();

  /* Configure the system clock */
  SystemClock_Config();

  /* Initialize all configured peripherals */
  MX_GPIO_Init();
  /* USER CODE BEGIN 2 */
  Delay_Init();

  /* USER CODE END 2 */

  /* Infinite loop */
  /* USER CODE BEGIN WHILE */
  while (1)
  {
    Funcion1();
    Funcion2();
    Funcion3();
    Funcion4();
    Funcion8();
    Navidad();

    //Sound_play(1000, 1000);
    /* USER CODE END WHILE */

  }
}

void SystemClock_Config(void)
{
  RCC_OscInitTypeDef RCC_OscInitStruct = {0};
  RCC_ClkInitTypeDef RCC_ClkInitStruct = {0};

  /** Configure the main internal regulator output voltage
  */
  __HAL_RCC_PWR_CLK_ENABLE();
  __HAL_PWR_VOLTAGESCALING_CONFIG(PWR_REGULATOR_VOLTAGE_SCALE2);

  /** Initializes the RCC Oscillators according to the specified parameters
  * in the RCC_OscInitTypeDef structure.
  */
  RCC_OscInitStruct.OscillatorType = RCC_OSCILLATORTYPE_HSI;
  RCC_OscInitStruct.HSIState = RCC_HSI_ON;
  RCC_OscInitStruct.HSICalibrationValue = RCC_HSICALIBRATION_DEFAULT;
  RCC_OscInitStruct.PLL.PLLState = RCC_PLL_ON;
  RCC_OscInitStruct.PLL.PLLSource = RCC_PLLSOURCE_HSI;
  RCC_OscInitStruct.PLL.PLLM = 8;
  RCC_OscInitStruct.PLL.PLLN = 84;
  RCC_OscInitStruct.PLL.PLLP = RCC_PLLP_DIV2;
  RCC_OscInitStruct.PLL.PLLQ = 4;
  if (HAL_RCC_OscConfig(&RCC_OscInitStruct) != HAL_OK)
  {
    Error_Handler();
  }

  /** Initializes the CPU, AHB and APB buses clocks
  */
  RCC_ClkInitStruct.ClockType = RCC_CLOCKTYPE_HCLK|RCC_CLOCKTYPE_SYSCLK
                              |RCC_CLOCKTYPE_PCLK1|RCC_CLOCKTYPE_PCLK2;
  RCC_ClkInitStruct.SYSCLKSource = RCC_SYSCLKSOURCE_PLLCLK;
  RCC_ClkInitStruct.AHBCLKDivider = RCC_SYSCLK_DIV1;
  RCC_ClkInitStruct.APB1CLKDivider = RCC_HCLK_DIV2;
  RCC_ClkInitStruct.APB2CLKDivider = RCC_HCLK_DIV1;

  if (HAL_RCC_ClockConfig(&RCC_ClkInitStruct, FLASH_LATENCY_2) != HAL_OK)
  {
    Error_Handler();
  }
}

static void MX_GPIO_Init(void)
{
  GPIO_InitTypeDef GPIO_InitStruct = {0};

  /* GPIO Ports Clock Enable */
  __HAL_RCC_GPIOC_CLK_ENABLE();
  __HAL_RCC_GPIOA_CLK_ENABLE();
  __HAL_RCC_GPIOB_CLK_ENABLE();

  /*Configure GPIO pin Output Level */
  HAL_GPIO_WritePin(AUDIO_GPIO_Port, AUDIO_Pin, GPIO_PIN_RESET);

  /*Configure GPIO pin Output Level */
  HAL_GPIO_WritePin(GPIOA, LED2_Pin|DISPLAY_G_Pin|DISPLAY_F_Pin|DISPLAY_A_Pin
                          |DISPLAY_B_Pin|DISPLAY_E_Pin|DISPLAY_D_Pin|DISPLAY_C_Pin, GPIO_PIN_RESET);

  /*Configure GPIO pin Output Level */
  HAL_GPIO_WritePin(GPIOB, LED1_Pin|LED3_Pin|LED4_Pin, GPIO_PIN_RESET);

  /*Configure GPIO pin : AUDIO_Pin */
  GPIO_InitStruct.Pin = AUDIO_Pin;
  GPIO_InitStruct.Mode = GPIO_MODE_OUTPUT_PP;
  GPIO_InitStruct.Pull = GPIO_NOPULL;
  GPIO_InitStruct.Speed = GPIO_SPEED_FREQ_LOW;
  HAL_GPIO_Init(AUDIO_GPIO_Port, &GPIO_InitStruct);

  /*Configure GPIO pins : LED2_Pin DISPLAY_G_Pin DISPLAY_F_Pin DISPLAY_A_Pin
                           DISPLAY_B_Pin DISPLAY_E_Pin DISPLAY_D_Pin DISPLAY_C_Pin */
  GPIO_InitStruct.Pin = LED2_Pin|DISPLAY_G_Pin|DISPLAY_F_Pin|DISPLAY_A_Pin
                          |DISPLAY_B_Pin|DISPLAY_E_Pin|DISPLAY_D_Pin|DISPLAY_C_Pin;
  GPIO_InitStruct.Mode = GPIO_MODE_OUTPUT_PP;
  GPIO_InitStruct.Pull = GPIO_NOPULL;
  GPIO_InitStruct.Speed = GPIO_SPEED_FREQ_LOW;
  HAL_GPIO_Init(GPIOA, &GPIO_InitStruct);

  /*Configure GPIO pins : LED1_Pin LED3_Pin LED4_Pin */
  GPIO_InitStruct.Pin = LED1_Pin|LED3_Pin|LED4_Pin;
  GPIO_InitStruct.Mode = GPIO_MODE_OUTPUT_PP;
  GPIO_InitStruct.Pull = GPIO_NOPULL;
  GPIO_InitStruct.Speed = GPIO_SPEED_FREQ_LOW;
  HAL_GPIO_Init(GPIOB, &GPIO_InitStruct);

}

void Error_Handler(void)
{
  __disable_irq();
  while (1)
  {
  }
}
